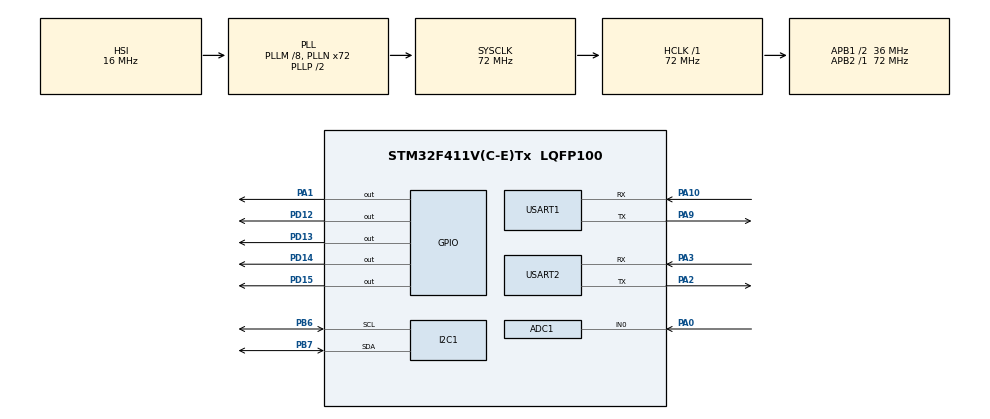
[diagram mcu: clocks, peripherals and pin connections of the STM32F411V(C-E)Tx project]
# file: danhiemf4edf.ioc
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ADC1.Channel-0\#ChannelRegularConversion=ADC_CHANNEL_0
ADC1.NbrOfConversionFlag=1
ADC1.Rank-0\#ChannelRegularConversion=1
ADC1.SamplingTime-0\#ChannelRegularConversion=ADC_SAMPLETIME_3CYCLES
ADC1.master=1
FREERTOS.Mutexes01=myMutex01,Dynamic,NULL,Available;myMutex02,Dynamic,NULL,Available;myMutex03,Dynamic,NULL,Available
FREERTOS.Queues01=qIdEdf,16,uint16_t,0,Dynamic,NULL,NULL;qTemp,4,float,0,Dynamic,NULL,NULL;qSoil,4,float,0,Dynamic,NULL,NULL;qCmd,4,char,0,Dynamic,NULL,NULL
FREERTOS.Tasks01=defaultTask,24,256,StartDefaultTask,Default,NULL,Dynamic,NULL,NULL;myTask02,24,256,StartTask02,Default,NULL,Dynamic,NULL,NULL;myTask03,24,500,StartTask03,Default,NULL,Dynamic,NULL,NULL;myTask04,24,500,StartTask04,Default,NULL,Dynamic,NULL,NULL;myTask06,40,700,StartTask06,Default,NULL,Dynamic,NULL,NULL
FREERTOS.configUSE_NEWLIB_REENTRANT=1
Mcu.Family=STM32F4
Mcu.Name=STM32F411V(C-E)Tx
Mcu.Package=LQFP100
NVIC.PriorityGroup=NVIC_PRIORITYGROUP_4
NVIC.TIM5_IRQn=true\:15\:0\:false\:false\:true\:false\:false\:true\:true
NVIC.TimeBase=TIM5_IRQn
NVIC.TimeBaseIP=TIM5
NVIC.USART2_IRQn=true\:5\:0\:false\:false\:true\:true\:true\:true\:true
PA0-WKUP.Signal=ADCx_IN0
PA1.PinState=GPIO_PIN_SET
PA1.Signal=GPIO_Output
PA10.Mode=Asynchronous
PA10.Signal=USART1_RX
PA13.Mode=Serial_Wire
PA13.Signal=SYS_JTMS-SWDIO
PA14.Mode=Serial_Wire
PA14.Signal=SYS_JTCK-SWCLK
PA2.Mode=Asynchronous
PA2.Signal=USART2_TX
PA3.Mode=Asynchronous
PA3.Signal=USART2_RX
PA9.Mode=Asynchronous
PA9.Signal=USART1_TX
PB6.Mode=I2C
PB6.Signal=I2C1_SCL
PB7.Mode=I2C
PB7.Signal=I2C1_SDA
PD12.Signal=GPIO_Output
PD13.Signal=GPIO_Output
PD14.Signal=GPIO_Output
PD15.Signal=GPIO_Output
PH0\ -\ OSC_IN.Mode=HSE-External-Oscillator
PH0\ -\ OSC_IN.Signal=RCC_OSC_IN
PH1\ -\ OSC_OUT.Mode=HSE-External-Oscillator
PH1\ -\ OSC_OUT.Signal=RCC_OSC_OUT
ProjectManager.HeapSize=0x200
ProjectManager.StackSize=0x400
ProjectManager.TargetToolchain=STM32CubeIDE
RCC.48MHZClocksFreq_Value=36000000
RCC.AHBFreq_Value=72000000
RCC.APB1CLKDivider=RCC_HCLK_DIV2
RCC.APB1Freq_Value=36000000
RCC.APB1TimFreq_Value=72000000
RCC.APB2Freq_Value=72000000
RCC.APB2TimFreq_Value=72000000
RCC.CortexFreq_Value=72000000
RCC.HCLKFreq_Value=72000000
RCC.HSE_VALUE=25000000
RCC.HSI_VALUE=16000000
RCC.LSE_VALUE=32768
RCC.PLLM=8
RCC.PLLN=72
RCC.SYSCLKFreq_VALUE=72000000
RCC.SYSCLKSource=RCC_SYSCLKSOURCE_PLLCLK
RCC.VCOOutputFreq_Value=144000000
SH.ADCx_IN0.0=ADC1_IN0,IN0
TIM2.Prescaler=71
USART1.VirtualMode=VM_ASYNC
USART2.VirtualMode=VM_ASYNC
VP_FREERTOS_VS_CMSIS_V2.Mode=CMSIS_V2
VP_SYS_VS_tim5.Mode=TIM5
VP_TIM2_VS_ClockSourceINT.Mode=Internal
board=custom

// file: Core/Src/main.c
/* USER CODE BEGIN Header */
/**
  ******************************************************************************
  * @file           : main.c
  * @brief          : Main program body
  ******************************************************************************
  * @attention
  *
  * Copyright (c) 2026 STMicroelectronics.
  * All rights reserved.
  *
  * This software is licensed under terms that can be found in the LICENSE file
  * in the root directory of this software component.
  * If no LICENSE file comes with this software, it is provided AS-IS.
  *
  ******************************************************************************
  */
/* USER CODE END Header */
#include "main.h"
#include "cmsis_os.h"

/* USER CODE BEGIN Includes */
#include <stdlib.h>
#include "dht22.h"
#include "i2c-lcd.h"
#include "printf.h"
#include "soil_adc.h"
#include "FreeRTOS.h"
#include "task.h"

/* USER CODE END Includes */

/* USER CODE BEGIN PTD */
DHT22_HandleTypeDef dht22;

/* FILE is typedef?d in stdio.h. */
FILE __stdout;
//TIM_HandleTypeDef htim2;
//ADC_HandleTypeDef hadc1;
//UART_HandleTypeDef huart1;
SoilADC_t soil_cfg = {// BIEN TRUC LUA CHON CHAN CHO CAM BIEN DO AM DAT
    .ADCx = ADC1,
    .channel = ADC_CHANNEL_0,   // PA2
    .GPIOx = GPIOA,
    .GPIO_Pin = GPIO_PIN_0
};
//I2C_HandleTypeDef hi2c1;// KHAI BAO CHAN I2C LCD
#define SLAVE_ADDRESS_LCD 0x4E //KHAI BAO DIA CHI I2C LCD
// danhiemso2
typedef enum {
  EDF_EVT_RELEASE = 1,
  EDF_EVT_DONE    = 2
} EdfEvtType_t;

typedef struct {
  uint8_t  task_id;        // 1..5
  uint8_t  type;           // RELEASE / DONE
  uint32_t abs_deadline;   // tick tuyệt đối (chỉ dùng khi RELEASE)
} EdfMsg_t;
#define CMD_LINE_MAX 128
osMessageQueueId_t edfQ;
/* USER CODE END PTD */

ADC_HandleTypeDef hadc1;

I2C_HandleTypeDef hi2c1;

TIM_HandleTypeDef htim2;

UART_HandleTypeDef huart1;
UART_HandleTypeDef huart2;

/* Definitions for defaultTask */
osThreadId_t defaultTaskHandle;
const osThreadAttr_t defaultTask_attributes = {
  .name = "defaultTask",
  .stack_size = 256 * 4,
  .priority = (osPriority_t) osPriorityNormal,
};
/* Definitions for myTask02 */
osThreadId_t myTask02Handle;
const osThreadAttr_t myTask02_attributes = {
  .name = "myTask02",
  .stack_size = 256 * 4,
  .priority = (osPriority_t) osPriorityNormal,
};
/* Definitions for myTask03 */
osThreadId_t myTask03Handle;
const osThreadAttr_t myTask03_attributes = {
  .name = "myTask03",
  .stack_size = 500 * 4,
  .priority = (osPriority_t) osPriorityNormal,
};
/* Definitions for myTask04 */
osThreadId_t myTask04Handle;
const osThreadAttr_t myTask04_attributes = {
  .name = "myTask04",
  .stack_size = 500 * 4,
  .priority = (osPriority_t) osPriorityNormal,
};
/* Definitions for myTask06 */
osThreadId_t myTask06Handle;
const osThreadAttr_t myTask06_attributes = {
  .name = "myTask06",
  .stack_size = 700 * 4,
  .priority = (osPriority_t) osPriorityHigh,
};
/* Definitions for qIdEdf */
osMessageQueueId_t qIdEdfHandle;
const osMessageQueueAttr_t qIdEdf_attributes = {
  .name = "qIdEdf"
};
/* Definitions for qTemp */
osMessageQueueId_t qTempHandle;
const osMessageQueueAttr_t qTemp_attributes = {
  .name = "qTemp"
};
/* Definitions for qSoil */
osMessageQueueId_t qSoilHandle;
const osMessageQueueAttr_t qSoil_attributes = {
  .name = "qSoil"
};
/* Definitions for qCmd */
osMessageQueueId_t qCmdHandle;
const osMessageQueueAttr_t qCmd_attributes = {
  .name = "qCmd"
};
/* Definitions for myMutex01 */
osMutexId_t myMutex01Handle;
const osMutexAttr_t myMutex01_attributes = {
  .name = "myMutex01"
};
/* Definitions for myMutex02 */
osMutexId_t myMutex02Handle;
const osMutexAttr_t myMutex02_attributes = {
  .name = "myMutex02"
};
/* Definitions for myMutex03 */
osMutexId_t myMutex03Handle;
const osMutexAttr_t myMutex03_attributes = {
  .name = "myMutex03"
};
/* USER CODE BEGIN PV */

volatile int t1 = 3000, t2 = 2000, t3 = 4000 , t4=500;
volatile int d1 = 2500, d2 = 1700, d3 = 3000, d4=400;// deadline
//volatile int c1 = 1700, c2 = 700, c3 = 700 , c4=700;// deadline
int  g_period_ms=2000;// BIEN LUU TRU THOI GIAN THUC HIEN CHU KY
char rxUart;// BIEN NHAN 1 BYTE UART
static uint8_t  uart_rx_ch;
static char     uart_line[128];
static uint16_t uart_line_len = 0;
static volatile uint8_t uart_line_ready = 0;
DHT22_Data_t dht_data;
float soil=0.0;// BIEN LUU TRU CAM BIEN DO AM DAT
/* ===== EDF job-level ===== */
// danhiemso2

static volatile uint32_t g_dl[4]     = {0}; // index 1..5
static volatile uint8_t  g_active[4] = {0}; // index 1..5

// map id -> thread handle (sẽ gán sau khi tạo thread)
static osThreadId_t g_tid[4] = {0};
/* USER CODE END PV */

void SystemClock_Config(void);
static void MX_GPIO_Init(void);
static void MX_ADC1_Init(void);
static void MX_I2C1_Init(void);
static void MX_TIM2_Init(void);
static void MX_USART2_UART_Init(void);
static void MX_USART1_UART_Init(void);
void StartDefaultTask(void *argument);
void StartTask02(void *argument);
void StartTask03(void *argument);
void StartTask04(void *argument);
void StartTask06(void *argument);

/* USER CODE BEGIN PFP */
void EDF_Manager_Task(void *argument);
/* USER CODE END PFP */

/* USER CODE BEGIN 0 */

static void ProcessCmd(char *line)
{
	// donnhiemso2
	    int node = 0;
	    int per  = 0;

	    // Lệnh: SET,<node>,<period_ms>
	    // Ví dụ: SET,2,1000
	    if (sscanf(line, "SET,%d,%d", &node, &per) == 2)
	    {
	        if (node < 1 || node > 4)
	        {
	            myPrintf(&huart2, "ERR node 1..5\r\n");
	            return;
	        }
	        if (per < 50 || per > 600000)   // tùy bạn giới hạn, 50ms là an toàn hơn
	        {
	            myPrintf(&huart2, "ERR period 50..600000(ms)\r\n");
	            return;
	        }

	        __disable_irq();
	        switch(node)
	        {
	            case 1: t1 = per; break;
	            case 2: t2 = per;  break;
	            case 3: t3 = per;  break;
	            case 4: t4 = per;  break;

	            default: break;
	        }
	        __enable_irq();

	        myPrintf(&huart2, "OK SET T%d=%dms\r\n", node, per);
	        return;
	    }

}

// chung
void HAL_UART_RxCpltCallback(UART_HandleTypeDef *huart)
{
	 if (huart->Instance == USART2)
	  {
	    char c = (char)uart_rx_ch;

	    if (c == '.')
	    {
	      if (uart_line_len > 0)
	      {
	        uart_line[uart_line_len] = '\0';

	        // đẩy nguyên chuỗi 128 bytes vào queue
	        osMessageQueuePut(qCmdHandle, uart_line, 0, 0);

	        // reset để nhận lệnh tiếp
	        uart_line_len = 0;
	      }
	    }
	    else
	    {
	      if (uart_line_len < (CMD_LINE_MAX - 1))
	        uart_line[uart_line_len++] = c;
	      else
	        uart_line_len = 0; // overflow
	    }

	    HAL_UART_Receive_IT(&huart2, &uart_rx_ch, 1);
	  }
}

/* USER CODE END 0 */

int main(void)
{

  /* MCU Configuration--------------------------------------------------------*/

  /* Reset of all peripherals, Initializes the Flash interface and the Systick. */
  HAL_Init();

  /* Configure the system clock */
  SystemClock_Config();

  /* Initialize all configured peripherals */
  MX_GPIO_Init();
  MX_ADC1_Init();
  MX_I2C1_Init();
  MX_TIM2_Init();
  MX_USART2_UART_Init();
  MX_USART1_UART_Init();
  /* USER CODE BEGIN 2 */
  HAL_TIM_Base_Start(&htim2);
  // Gán cấu hình cho DHT22
   dht22.GPIOx = GPIOA;
   dht22.GPIO_Pin = GPIO_PIN_1;
   dht22.htim = &htim2;

   DHT22_Init(&dht22);
       // cấu hình ban đầu cho lcd-i2c
   lcd_init();
   lcd_clear();
   lcd_put_cur(0, 0);
   lcd_send_string("Set up");

    // cau hinh ban dau cho uart
    uart_line_len = 0;
    uart_line_ready = 0;

    // cau hinh adc soil
     Soil_Begin(&soil_cfg);

  /* USER CODE END 2 */

  /* Init scheduler */
  osKernelInitialize();
  /* Create the mutex(es) */
  /* creation of myMutex01 */
  myMutex01Handle = osMutexNew(&myMutex01_attributes);

  /* creation of myMutex02 */
  myMutex02Handle = osMutexNew(&myMutex02_attributes);

  /* creation of myMutex03 */
  myMutex03Handle = osMutexNew(&myMutex03_attributes);

  /* USER CODE BEGIN RTOS_MUTEX */
  /* add mutexes, ... */
  HAL_UART_Receive_IT(&huart2, &uart_rx_ch, 1);  // đổi huart1 thành huart bạn dùng
  /* USER CODE END RTOS_MUTEX */

  /* Create the queue(s) */
  /* creation of qIdEdf */
 // qIdEdfHandle = osMessageQueueNew (16, sizeof(uint16_t), &qIdEdf_attributes);

  /* creation of qTemp */
  qTempHandle = osMessageQueueNew (4, sizeof(float), &qTemp_attributes);

  /* creation of qSoil */
  qSoilHandle = osMessageQueueNew (4, sizeof(float), &qSoil_attributes);

  /* creation of qCmd */
//  qCmdHandle = osMessageQueueNew (4, sizeof(char), &qCmd_attributes);

  /* USER CODE BEGIN RTOS_QUEUES */
  qCmdHandle = osMessageQueueNew(5, CMD_LINE_MAX, &qCmd_attributes);
  qIdEdfHandle = osMessageQueueNew(32, sizeof(EdfMsg_t), &qIdEdf_attributes);
  edfQ = qIdEdfHandle;
  /* add queues, ... */
//  HAL_UART_Receive_IT(&huart2, &uart_rx_ch, 1);  // đổi huart1 thành huart bạn dùng
  /* USER CODE END RTOS_QUEUES */

  /* Create the thread(s) */
  /* creation of defaultTask */
  defaultTaskHandle = osThreadNew(StartDefaultTask, NULL, &defaultTask_attributes);

  /* creation of myTask02 */
  myTask02Handle = osThreadNew(StartTask02, NULL, &myTask02_attributes);

  /* creation of myTask03 */
  myTask03Handle = osThreadNew(StartTask03, NULL, &myTask03_attributes);

  /* creation of myTask04 */
  myTask04Handle = osThreadNew(StartTask04, NULL, &myTask04_attributes);

  /* creation of myTask06 */
  myTask06Handle = osThreadNew(StartTask06, NULL, &myTask06_attributes);

  /* USER CODE BEGIN RTOS_THREADS */
  /* add threads, ... */
  //donnhiemso2
  // gán map id -> handle (sau khi osThreadNew xong)
  g_tid[1] = defaultTaskHandle;
  g_tid[2] = myTask02Handle;
  g_tid[3] = myTask03Handle;
  //g_tid[4] = myTask04Handle;

  /* USER CODE END RTOS_THREADS */

  /* Start scheduler */
  osKernelStart();

  /* We should never get here as control is now taken by the scheduler */

  /* Infinite loop */
  while (1)
  {

  }
}

void SystemClock_Config(void)
{
  RCC_OscInitTypeDef RCC_OscInitStruct = {0};
  RCC_ClkInitTypeDef RCC_ClkInitStruct = {0};

  /** Configure the main internal regulator output voltage
  */
  __HAL_RCC_PWR_CLK_ENABLE();
  __HAL_PWR_VOLTAGESCALING_CONFIG(PWR_REGULATOR_VOLTAGE_SCALE1);

  /** Initializes the RCC Oscillators according to the specified parameters
  * in the RCC_OscInitTypeDef structure.
  */
  RCC_OscInitStruct.OscillatorType = RCC_OSCILLATORTYPE_HSI;
  RCC_OscInitStruct.HSIState = RCC_HSI_ON;
  RCC_OscInitStruct.HSICalibrationValue = RCC_HSICALIBRATION_DEFAULT;
  RCC_OscInitStruct.PLL.PLLState = RCC_PLL_ON;
  RCC_OscInitStruct.PLL.PLLSource = RCC_PLLSOURCE_HSI;
  RCC_OscInitStruct.PLL.PLLM = 8;
  RCC_OscInitStruct.PLL.PLLN = 72;
  RCC_OscInitStruct.PLL.PLLP = RCC_PLLP_DIV2;
  RCC_OscInitStruct.PLL.PLLQ = 4;
  if (HAL_RCC_OscConfig(&RCC_OscInitStruct) != HAL_OK)
  {
    Error_Handler();
  }

  /** Initializes the CPU, AHB and APB buses clocks
  */
  RCC_ClkInitStruct.ClockType = RCC_CLOCKTYPE_HCLK|RCC_CLOCKTYPE_SYSCLK
                              |RCC_CLOCKTYPE_PCLK1|RCC_CLOCKTYPE_PCLK2;
  RCC_ClkInitStruct.SYSCLKSource = RCC_SYSCLKSOURCE_PLLCLK;
  RCC_ClkInitStruct.AHBCLKDivider = RCC_SYSCLK_DIV1;
  RCC_ClkInitStruct.APB1CLKDivider = RCC_HCLK_DIV2;
  RCC_ClkInitStruct.APB2CLKDivider = RCC_HCLK_DIV1;

  if (HAL_RCC_ClockConfig(&RCC_ClkInitStruct, FLASH_LATENCY_2) != HAL_OK)
  {
    Error_Handler();
  }
}

static void MX_ADC1_Init(void)
{

  ADC_ChannelConfTypeDef sConfig = {0};

  /** Configure the global features of the ADC (Clock, Resolution, Data Alignment and number of conversion)
  */
  hadc1.Instance = ADC1;
  hadc1.Init.ClockPrescaler = ADC_CLOCK_SYNC_PCLK_DIV2;
  hadc1.Init.Resolution = ADC_RESOLUTION_12B;
  hadc1.Init.ScanConvMode = DISABLE;
  hadc1.Init.ContinuousConvMode = DISABLE;
  hadc1.Init.DiscontinuousConvMode = DISABLE;
  hadc1.Init.ExternalTrigConvEdge = ADC_EXTERNALTRIGCONVEDGE_NONE;
  hadc1.Init.ExternalTrigConv = ADC_SOFTWARE_START;
  hadc1.Init.DataAlign = ADC_DATAALIGN_RIGHT;
  hadc1.Init.NbrOfConversion = 1;
  hadc1.Init.DMAContinuousRequests = DISABLE;
  hadc1.Init.EOCSelection = ADC_EOC_SINGLE_CONV;
  if (HAL_ADC_Init(&hadc1) != HAL_OK)
  {
    Error_Handler();
  }

  /** Configure for the selected ADC regular channel its corresponding rank in the sequencer and its sample time.
  */
  sConfig.Channel = ADC_CHANNEL_0;
  sConfig.Rank = 1;
  sConfig.SamplingTime = ADC_SAMPLETIME_3CYCLES;
  if (HAL_ADC_ConfigChannel(&hadc1, &sConfig) != HAL_OK)
  {
    Error_Handler();
  }

}

static void MX_I2C1_Init(void)
{

  hi2c1.Instance = I2C1;
  hi2c1.Init.ClockSpeed = 100000;
  hi2c1.Init.DutyCycle = I2C_DUTYCYCLE_2;
  hi2c1.Init.OwnAddress1 = 0;
  hi2c1.Init.AddressingMode = I2C_ADDRESSINGMODE_7BIT;
  hi2c1.Init.DualAddressMode = I2C_DUALADDRESS_DISABLE;
  hi2c1.Init.OwnAddress2 = 0;
  hi2c1.Init.GeneralCallMode = I2C_GENERALCALL_DISABLE;
  hi2c1.Init.NoStretchMode = I2C_NOSTRETCH_DISABLE;
  if (HAL_I2C_Init(&hi2c1) != HAL_OK)
  {
    Error_Handler();
  }

}

static void MX_TIM2_Init(void)
{

  TIM_ClockConfigTypeDef sClockSourceConfig = {0};
  TIM_MasterConfigTypeDef sMasterConfig = {0};

  htim2.Instance = TIM2;
  htim2.Init.Prescaler = 71;
  htim2.Init.CounterMode = TIM_COUNTERMODE_UP;
  htim2.Init.Period = 4294967295;
  htim2.Init.ClockDivision = TIM_CLOCKDIVISION_DIV1;
  htim2.Init.AutoReloadPreload = TIM_AUTORELOAD_PRELOAD_DISABLE;
  if (HAL_TIM_Base_Init(&htim2) != HAL_OK)
  {
    Error_Handler();
  }
  sClockSourceConfig.ClockSource = TIM_CLOCKSOURCE_INTERNAL;
  if (HAL_TIM_ConfigClockSource(&htim2, &sClockSourceConfig) != HAL_OK)
  {
    Error_Handler();
  }
  sMasterConfig.MasterOutputTrigger = TIM_TRGO_RESET;
  sMasterConfig.MasterSlaveMode = TIM_MASTERSLAVEMODE_DISABLE;
  if (HAL_TIMEx_MasterConfigSynchronization(&htim2, &sMasterConfig) != HAL_OK)
  {
    Error_Handler();
  }

}

static void MX_USART1_UART_Init(void)
{

  huart1.Instance = USART1;
  huart1.Init.BaudRate = 115200;
  huart1.Init.WordLength = UART_WORDLENGTH_8B;
  huart1.Init.StopBits = UART_STOPBITS_1;
  huart1.Init.Parity = UART_PARITY_NONE;
  huart1.Init.Mode = UART_MODE_TX_RX;
  huart1.Init.HwFlowCtl = UART_HWCONTROL_NONE;
  huart1.Init.OverSampling = UART_OVERSAMPLING_16;
  if (HAL_UART_Init(&huart1) != HAL_OK)
  {
    Error_Handler();
  }

}

static void MX_USART2_UART_Init(void)
{

  huart2.Instance = USART2;
  huart2.Init.BaudRate = 115200;
  huart2.Init.WordLength = UART_WORDLENGTH_8B;
  huart2.Init.StopBits = UART_STOPBITS_1;
  huart2.Init.Parity = UART_PARITY_NONE;
  huart2.Init.Mode = UART_MODE_TX_RX;
  huart2.Init.HwFlowCtl = UART_HWCONTROL_NONE;
  huart2.Init.OverSampling = UART_OVERSAMPLING_16;
  if (HAL_UART_Init(&huart2) != HAL_OK)
  {
    Error_Handler();
  }

}

static void MX_GPIO_Init(void)
{
  GPIO_InitTypeDef GPIO_InitStruct = {0};

  /* GPIO Ports Clock Enable */
  __HAL_RCC_GPIOH_CLK_ENABLE();
  __HAL_RCC_GPIOA_CLK_ENABLE();
  __HAL_RCC_GPIOD_CLK_ENABLE();
  __HAL_RCC_GPIOB_CLK_ENABLE();

  /*Configure GPIO pin Output Level */
  HAL_GPIO_WritePin(GPIOA, GPIO_PIN_1, GPIO_PIN_SET);

  /*Configure GPIO pin Output Level */
  HAL_GPIO_WritePin(GPIOD, GPIO_PIN_12|GPIO_PIN_13|GPIO_PIN_14|GPIO_PIN_15, GPIO_PIN_RESET);

  /*Configure GPIO pin : PA1 */
  GPIO_InitStruct.Pin = GPIO_PIN_1;
  GPIO_InitStruct.Mode = GPIO_MODE_OUTPUT_PP;
  GPIO_InitStruct.Pull = GPIO_NOPULL;
  GPIO_InitStruct.Speed = GPIO_SPEED_FREQ_LOW;
  HAL_GPIO_Init(GPIOA, &GPIO_InitStruct);

  /*Configure GPIO pins : PD12 PD13 PD14 PD15 */
  GPIO_InitStruct.Pin = GPIO_PIN_12|GPIO_PIN_13|GPIO_PIN_14|GPIO_PIN_15;
  GPIO_InitStruct.Mode = GPIO_MODE_OUTPUT_PP;
  GPIO_InitStruct.Pull = GPIO_NOPULL;
  GPIO_InitStruct.Speed = GPIO_SPEED_FREQ_LOW;
  HAL_GPIO_Init(GPIOD, &GPIO_InitStruct);

}

/* USER CODE BEGIN 4 */
/* ===== EDF Manager (5 tasks) ===== */

// dua ve trang thai nomal cho tat ca cac task
static void EDF_SetAllNormal(void)
{
  for (uint8_t i = 1; i <= 3; i++) {
    if (g_tid[i]) {
    	osThreadSetPriority(g_tid[i], osPriorityNormal);
    }
  }
}

// tu thu tu cua dealine de gan muc uu tien
static void EDF_ApplyPriorities_5(void)
{
  uint32_t dl[4];
  uint8_t  idx[4];
  uint8_t  n = 0;

  // gom các task đang active
  for (uint8_t i = 1; i <= 3; i++) {
    if (g_active[i]) {
      dl[i] = g_dl[i];
      idx[n++] = i;
    }
  }

  if (n == 0) {
    EDF_SetAllNormal();
    return;
  }

  // sap xep bang 2 vong lap for tu be den lon cac dia chi id   dealine gan nhat -> dealine lau nhat
  for (uint8_t a = 0; a < n; a++) {
    for (uint8_t b = a + 1; b < n; b++) {
      if (dl[idx[b]] < dl[idx[a]]) {
        uint8_t tmp = idx[a];
        idx[a] = idx[b];
        idx[b] = tmp;
      }
    }
  }

  // mặc định tất cả Normal trước
  EDF_SetAllNormal();

  // gán theo thứ hạng deadline
  // gần nhất -> cao nhất
  // (Bạn có thể đổi thang priority nếu muốn)
  const osPriority_t pr_map[4] = {
    osPriorityHigh,         // rank 1
    osPriorityAboveNormal,  // rank 2
    osPriorityNormal,       // rank 3

  };

  for (uint8_t r = 0; r < n; r++) {
    uint8_t id = idx[r];
    if (g_tid[id]) {
      osThreadSetPriority(g_tid[id], pr_map[(r < 3) ? r : 2]);
    }
  }
}

/* USER CODE END 4 */

void StartDefaultTask(void *argument)
{
  /* USER CODE BEGIN 5 */
  /* Infinite loop */
	uint32_t next = osKernelGetTickCount();

	  for (;;)
	  {
		  int T, D;
		  __disable_irq();
		  T = t1;
		  D = d1;
		  __enable_irq();
	    next += T;

	    // RELEASE
	    EdfMsg_t m = {
	      .task_id = 1,
	      .type = EDF_EVT_RELEASE,
	      .abs_deadline = osKernelGetTickCount() + D
	    };
	    osMessageQueuePut(edfQ, &m, 0, 0);

	    // ===== việc của task 1 =====
	    HAL_GPIO_TogglePin(GPIOD, GPIO_PIN_15);
	    myPrintf(&huart2,"thuc hien task 1\r\n");

	    // KHÔNG khuyến khích vTaskSuspendAll trong EDF (block scheduler)
	    // Nếu bắt buộc, giữ tạm:
	    vTaskSuspendAll();
	    if (DHT22_Read(&dht22, &dht_data) == 0) {
	    	myPrintf(&huart2,"DHT22 read success\r\n");
	    	// sau khi DHT22_Read OK
	    	float temp = dht_data.Temperature;

	    	// gửi queue (timeout 0: nếu đầy thì bỏ qua mẫu)
	    	osMessageQueuePut(qTempHandle, &temp, 0, 0);
	    }
	    else myPrintf(&huart2,"DHT22 read error\r\n");
	    xTaskResumeAll();
	    // ===========================

	    // DONE
	    m.type = EDF_EVT_DONE;
	    osMessageQueuePut(edfQ, &m, 0, 0);
	    myPrintf(&huart2,"thuc hien xong task 1\r\n");
	    osDelayUntil(next);
	  }
  /* USER CODE END 5 */
}

void StartTask02(void *argument)
{
  /* USER CODE BEGIN StartTask02 */
  /* Infinite loop */
	uint32_t next = osKernelGetTickCount();

	  for (;;)
	  {
		  int T, D;
		  __disable_irq();
		  T = t2;
		  D = d2;
		  __enable_irq();
	    next += T;

	    EdfMsg_t m = { .task_id=2, .type=EDF_EVT_RELEASE,
	                   .abs_deadline=osKernelGetTickCount()+D };
	    osMessageQueuePut(edfQ, &m, 0, 0);

	    HAL_GPIO_TogglePin(GPIOD, GPIO_PIN_14);
	    myPrintf(&huart2,"thuc hien task 2\r\n");
	    soil = Soil_ReadRaw(&soil_cfg);
	    float s =  soil;
	     osMessageQueuePut(qSoilHandle, &s, 0, 0);
	    m.type = EDF_EVT_DONE;
	    osMessageQueuePut(edfQ, &m, 0, 0);
	    myPrintf(&huart2,"thuc hien xong task 2\r\n");
	    osDelayUntil(next);
	  }
  /* USER CODE END StartTask02 */
}

void StartTask03(void *argument)
{
  /* USER CODE BEGIN StartTask03 */
  /* Infinite loop */
	uint32_t next = osKernelGetTickCount();
	static float lastTemp = 0.0f;
		static float lastSoil = 0.0f;
		float temp, soilv;
		uint8_t show_deadline = 0;   // 0 = hiển thị T, 1 = hiển thị D
	  for (;;)
	  {
		  int T, D;
		  __disable_irq();
		  T = t3;
		  D = d3;
		  __enable_irq();
	    next += T;

	    EdfMsg_t m = { .task_id=3, .type=EDF_EVT_RELEASE,
	                   .abs_deadline=osKernelGetTickCount()+D };
	    osMessageQueuePut(edfQ, &m, 0, 0);

	    HAL_GPIO_TogglePin(GPIOD, GPIO_PIN_13);
	    myPrintf(&huart2,"thuc hien task 3\r\n");
	    uint8_t updated = 0;

	    			     // đọc temp nếu có
	    			     if (osMessageQueueGet(qTempHandle, &temp, NULL, 0) == osOK) {
	    			       lastTemp = temp;
	    			       updated = 1;
	    			     }

	    			     // đọc soil nếu có
	    			     if (osMessageQueueGet(qSoilHandle, &soilv, NULL, 0) == osOK) {
	    			       lastSoil = soilv;
	    			       updated = 1;
	    			     }

	    			     // nếu có dữ liệu mới thì mới in + lcd
	    			     if (updated) {
	    myPrintf(&huart2,"Temp: %.2f C, Soil: %.2f %%\r\n",lastTemp , lastSoil);
	    char temp_soil[20];
	    	    char period[20];

	    	    sprintf(temp_soil, "T:%.2fC|S:%.1f%%", lastTemp, lastSoil);
//	    	    sprintf(period, "%.1f %.1f %.1f",
//	    	            (t1/1000.0f),(t2/1000.0f),(t3/1000.0f));
	    	    // Dòng 2: luân phiên T / D
	    	    if (show_deadline)
	    	    {
	    	        // Hiển thị DEADLINE
	    	        sprintf(period,
	    	        		"D:%.1f %.1f %.1f",
	    	                 (d1/1000.0f),(d2/1000.0f),(d3/1000.0f));
	    	    }
	    	    else
	    	    {
	    	        // Hiển thị PERIOD
	    	        sprintf(period,
	    	        		"T:%.1f %.1f %.1f",
	    	        			    	                 (t1/1000.0f),(t2/1000.0f),(t3/1000.0f));
	    	    }

	    	    // Đảo trạng thái cho lần sau
	    	    show_deadline ^= 1;
	    	    lcd_put_cur(0,0); lcd_send_string("                ");
	    	    lcd_put_cur(0,0); lcd_send_string(temp_soil);
	    	    lcd_put_cur(1,0); lcd_send_string("                ");
	    	    lcd_put_cur(1,0); lcd_send_string(period);
	    			     }
	    m.type = EDF_EVT_DONE;
	    osMessageQueuePut(edfQ, &m, 0, 0);
	    myPrintf(&huart2,"thuc hien xong task 3\r\n");
	    osDelayUntil(next);
	  }
  /* USER CODE END StartTask03 */
}

void StartTask04(void *argument)
{
  /* USER CODE BEGIN StartTask04 */
  /* Infinite loop */
	//uint32_t next = osKernelGetTickCount();
	char line_rx[CMD_LINE_MAX];
		int node = 0;
		 int per  = 0;
	  for (;;)
	  {
//		  int T, D;
//		  __disable_irq();
//		  T = t4;
//		  D = d4;
//		  __enable_irq();
//	    next += T;
//
//	    EdfMsg_t m = { .task_id=4, .type=EDF_EVT_RELEASE,
//	                   .abs_deadline=osKernelGetTickCount()+D };
//	    osMessageQueuePut(edfQ, &m, 0, 0);

		  memset(line_rx, 0, sizeof(line_rx));
	    if (osMessageQueueGet(qCmdHandle, line_rx, NULL, osWaitForever) == osOK)
	     {

		    myPrintf(&huart2,"thuc hien task 4\r\n");
		    HAL_GPIO_TogglePin(GPIOD, GPIO_PIN_12);
		    int node = 0, val = 0;

		      myPrintf(&huart2, "\r\nCMD: %s\r\n", line_rx);

		      // SETT,<node>,<ms>
		      if (sscanf(line_rx, "SETT,%d,%d", &node, &val) == 2)
		      {
		        if (node < 1 || node > 3) { myPrintf(&huart2, "ERR node 1..3\r\n"); }
		        else if (val < 50 || val > 600000) { myPrintf(&huart2, "ERR T 50..600000(ms)\r\n"); }
		        else {
		          taskENTER_CRITICAL();
		          if (node==1) t1 = val;
		          else if (node==2) t2 = val;
		          else if (node==3) t3 = val;
		         // else if (node==4) t4 = val;
		          taskEXIT_CRITICAL();

		          myPrintf(&huart2, "OK SETT T%d=%dms\r\n", node, val);
		        }
		      }
		      // SETD,<node>,<ms>
		      else if (sscanf(line_rx, "SETD,%d,%d", &node, &val) == 2)
		      {
		        if (node < 1 || node > 3) { myPrintf(&huart2, "ERR node 1..3\r\n"); }
		        else if (val < 10 || val > 600000) { myPrintf(&huart2, "ERR D 10..600000(ms)\r\n"); }
		        else {
		          taskENTER_CRITICAL();
		          if (node==1){
		        	  if (val < t1) {
		        		  d1 = val;
		        		  myPrintf( &huart2,"D1 set success\r\n");
		        	  }
		        	  else   myPrintf(&huart2, "ERR D1 must <= T1\r\n");

		          }
		          else if (node==2){
		        	  if (val < t2) {
		        	  		        		  d2 = val;
		        	  		        		  myPrintf( &huart2,"D2 set success\r\n");
		        	  		        	  }
		        	  		        	  else   myPrintf(&huart2, "ERR D2 must <= T2\r\n");

		          }
		          else if (node==3) {
		        	  if (val < t3) {
		        	  		        		  d3 = val;
		        	  		        		  myPrintf( &huart2,"D3 set success\r\n");
		        	  		        	  }
		        	  		        	  else   myPrintf(&huart2, "ERR D3 must <= T3\r\n");

		          }
		       //   else if (node==4) d4 = val;
		          taskEXIT_CRITICAL();

		          myPrintf(&huart2, "OK SETD D%d=%dms\r\n", node, val);
		        }
		      }
		      else
		      {
		        myPrintf(&huart2, "ERR cmd format\r\n");
		        myPrintf(&huart2, "Use: SETT,n,ms.  or  SETD,n,ms.\r\n");
		      }
	    		   myPrintf(&huart2,"thuc hien xong task 4\r\n");
	     }

//	    m.type = EDF_EVT_DONE;
//	    osMessageQueuePut(edfQ, &m, 0, 0);

	   // osDelayUntil(next);
	  }
  /* USER CODE END StartTask04 */
}

void StartTask06(void *argument)
{
  /* USER CODE BEGIN StartTask06 */
  /* Infinite loop */
	(void)argument;
	  EdfMsg_t msg;

	  for (uint8_t i = 1; i <= 3; i++) {
	    g_active[i] = 0;
	    g_dl[i] = 0;
	  }
  for(;;)
  {
	  if (osMessageQueueGet(edfQ, &msg, NULL, osWaitForever) == osOK)
	      {
	        if (msg.task_id >= 1 && msg.task_id <= 3)
	        {
	          if (msg.type == EDF_EVT_RELEASE) {
	            g_dl[msg.task_id] = msg.abs_deadline;
	            g_active[msg.task_id] = 1;
	          } else if (msg.type == EDF_EVT_DONE) {
	            g_active[msg.task_id] = 0;
	          }
	          EDF_ApplyPriorities_5();
	        }
	      }
    osDelay(1);
  }
  /* USER CODE END StartTask06 */
}

void HAL_TIM_PeriodElapsedCallback(TIM_HandleTypeDef *htim)
{
  if (htim->Instance == TIM5)
  {
    HAL_IncTick();
  }
}

void Error_Handler(void)
{
  __disable_irq();
  while (1)
  {
  }
}
